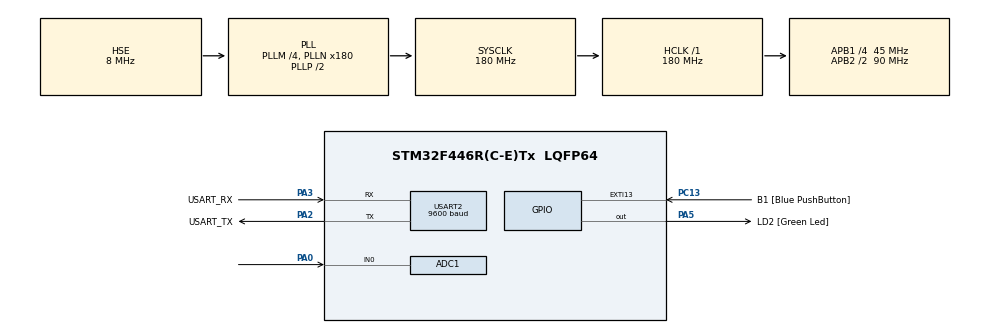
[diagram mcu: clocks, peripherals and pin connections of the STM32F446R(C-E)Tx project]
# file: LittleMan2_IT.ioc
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ADC1.Channel-0\#ChannelRegularConversion=ADC_CHANNEL_0
ADC1.ContinuousConvMode=ENABLE
ADC1.InjNumberOfConversion=0
ADC1.NbrOfConversion=1
ADC1.NbrOfConversionFlag=1
ADC1.Rank-0\#ChannelRegularConversion=1
ADC1.SamplingTime-0\#ChannelRegularConversion=ADC_SAMPLETIME_3CYCLES
ADC1.master=1
FREERTOS.Tasks01=defaultTask,0,128,StartDefaultTask,Default,NULL,Dynamic,NULL,NULL;Task2,0,128,Task2Init,Default,NULL,Dynamic,NULL,NULL
Mcu.Family=STM32F4
Mcu.Name=STM32F446R(C-E)Tx
Mcu.Package=LQFP64
NVIC.ADC_IRQn=true\:5\:0\:false\:false\:true\:true\:true\:true
NVIC.PriorityGroup=NVIC_PRIORITYGROUP_4
NVIC.TIM6_DAC_IRQn=true\:0\:0\:false\:false\:true\:false\:false\:true
NVIC.TimeBase=TIM6_DAC_IRQn
NVIC.TimeBaseIP=TIM6
NVIC.USART2_IRQn=true\:5\:0\:false\:false\:true\:true\:true\:true
PA0-WKUP.Signal=ADCx_IN0
PA13.GPIO_Label=TMS
PA13.Mode=Trace_Asynchronous_SW
PA13.Signal=SYS_JTMS-SWDIO
PA14.GPIO_Label=TCK
PA14.Mode=Trace_Asynchronous_SW
PA14.Signal=SYS_JTCK-SWCLK
PA2.GPIO_Label=USART_TX
PA2.Mode=Asynchronous
PA2.Signal=USART2_TX
PA3.GPIO_Label=USART_RX
PA3.Mode=Asynchronous
PA3.Signal=USART2_RX
PA5.GPIO_Label=LD2 [Green Led]
PA5.Signal=GPIO_Output
PB3.GPIO_Label=SWO
PB3.Mode=Trace_Asynchronous_SW
PB3.Signal=SYS_JTDO-SWO
PC13.GPIO_Label=B1 [Blue PushButton]
PC13.GPIO_ModeDefaultEXTI=GPIO_MODE_IT_FALLING
PC13.Signal=GPXTI13
PC14-OSC32_IN.Mode=LSE-External-Oscillator
PC14-OSC32_IN.Signal=RCC_OSC32_IN
PC15-OSC32_OUT.Mode=LSE-External-Oscillator
PC15-OSC32_OUT.Signal=RCC_OSC32_OUT
PH0-OSC_IN.Mode=HSE-External-Clock-Source
PH0-OSC_IN.Signal=RCC_OSC_IN
PH1-OSC_OUT.Mode=HSE-External-Clock-Source
PH1-OSC_OUT.Signal=RCC_OSC_OUT
ProjectManager.HeapSize=0x200
ProjectManager.StackSize=0x400
ProjectManager.TargetToolchain=STM32CubeIDE
RCC.48MHZClocksFreq_Value=84000000
RCC.AHBFreq_Value=180000000
RCC.APB1CLKDivider=RCC_HCLK_DIV4
RCC.APB1Freq_Value=45000000
RCC.APB1TimFreq_Value=90000000
RCC.APB2CLKDivider=RCC_HCLK_DIV2
RCC.APB2Freq_Value=90000000
RCC.APB2TimFreq_Value=180000000
RCC.CortexFreq_Value=180000000
RCC.FLatency-AdvancedSettings=FLASH_LATENCY_5
RCC.HCLKFreq_Value=180000000
RCC.HSE_VALUE=8000000
RCC.HSI_VALUE=16000000
RCC.PLLM=4
RCC.PLLN=180
RCC.PLLSourceVirtual=RCC_PLLSOURCE_HSE
RCC.SYSCLKFreq_VALUE=180000000
RCC.SYSCLKSource=RCC_SYSCLKSOURCE_PLLCLK
RCC.USBFreq_Value=180000000
RCC.VCOOutputFreq_Value=360000000
SH.ADCx_IN0.0=ADC1_IN0,IN0
USART2.BaudRate=9600
USART2.VirtualMode=VM_ASYNC
VP_FREERTOS_VS_CMSIS_V1.Mode=CMSIS_V1
VP_SYS_VS_tim6.Mode=TIM6
board=NUCLEO-F446RE

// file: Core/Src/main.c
/* USER CODE BEGIN Header */
/**
  ******************************************************************************
  * @file           : main.c
  * @brief          : Main program body
  ******************************************************************************
  * @attention
  *
  * <h2><center>&copy; Copyright (c) 2019 STMicroelectronics.
  * All rights reserved.</center></h2>
  *
  * This software component is licensed by ST under BSD 3-Clause license,
  * the "License"; You may not use this file except in compliance with the
  * License. You may obtain a copy of the License at:
  *                        opensource.org/licenses/BSD-3-Clause
  *
  ******************************************************************************
  */
/* USER CODE END Header */

#include "main.h"
#include "cmsis_os.h"

/* USER CODE BEGIN Includes */
#include <string.h>
#include <stdio.h>
/* USER CODE END Includes */

/* USER CODE BEGIN PD */

#define KEY_UP				610
#define KEY_DOWN			1550
#define KEY_SELECT			3850
#define KEY_LEFT			2460
#define KEY_RIGHT			0
#define	KEY_ERROR			50
#define KEY_UP_UPPER		KEY_UP + KEY_ERROR
#define KEY_UP_LOWER		KEY_UP - KEY_ERROR
#define KEY_DOWN_UPPER		KEY_DOWN + KEY_ERROR
#define KEY_DOWN_LOWER		KEY_DOWN - KEY_ERROR
#define KEY_LEFT_UPPER		KEY_LEFT + KEY_ERROR
#define KEY_LEFT_LOWER		KEY_LEFT - KEY_ERROR
#define KEY_RIGHT_UPPER		KEY_RIGHT + KEY_ERROR
#define KEY_RIGHT_LOWER		KEY_RIGHT - KEY_ERROR
#define KEY_SELECT_UPPER	KEY_SELECT + KEY_ERROR
#define KEY_SELECT_LOWER	KEY_SELECT - KEY_ERROR

/* USER CODE END PD */

ADC_HandleTypeDef hadc1;

UART_HandleTypeDef huart2;

osThreadId defaultTaskHandle;
osThreadId Task2Handle;
/* USER CODE BEGIN PV */

osThreadId TaskUARTProcessHandler;
osThreadId TaskDisplayHandler;

osMessageQId ADCQueue;

volatile uint16_t ADCValue = 0;

uint8_t usart_buffer[50] = "START";

/* USER CODE END PV */

void SystemClock_Config(void);
static void MX_GPIO_Init(void);
static void MX_USART2_UART_Init(void);
static void MX_ADC1_Init(void);
void StartDefaultTask(void const * argument);
void Task2Init(void const * argument);

/* USER CODE BEGIN PFP */
/*
 * TASKS Definitions
 */
void TaskUARTProcessInit(void const * argument);
void TaskDisplayInit(void const * argument);
int _write(int file, char *ptr, int len);

/*
 * General Functions definitions
 */
void uart_send(uint8_t *data);

/* USER CODE END PFP */

/* USER CODE BEGIN 0 */

/**
  * @brief  The application entry point.
  * @retval int
  */
int main(void)
{
  /* USER CODE BEGIN 1 */

  /* USER CODE END 1 */

  /* MCU Configuration--------------------------------------------------------*/

  /* Reset of all peripherals, Initializes the Flash interface and the Systick. */
  HAL_Init();

  /* USER CODE BEGIN Init */

  /* USER CODE END Init */

  /* Configure the system clock */
  SystemClock_Config();

  /* USER CODE BEGIN SysInit */

  /* USER CODE END SysInit */

  /* Initialize all configured peripherals */
  MX_GPIO_Init();
  MX_USART2_UART_Init();
  MX_ADC1_Init();
  /* USER CODE BEGIN 2 */

  /* Initialize LCD 20 cols x 4 rows */
  TM_HD44780_Init(16, 2);
  /* Put string to LCD */
  TM_HD44780_Puts(0, 0, "Fernando");
  TM_HD44780_Puts(0, 1, "16x2 HD44780 LCD");
  /* Wait a little */
  HAL_Delay(3000);
  /* Clear LCD */
  TM_HD44780_Clear();
  /* Write new text */
  TM_HD44780_Puts(6, 1, "CLEARED!");
  /* Wait a little */
  HAL_Delay(1000);

  printf("SVW TEST");

  /* USER CODE END 2 */

  /* USER CODE BEGIN RTOS_MUTEX */
  /* add mutexes, ... */
  /* USER CODE END RTOS_MUTEX */

  /* USER CODE BEGIN RTOS_SEMAPHORES */
  /* add semaphores, ... */
  /* USER CODE END RTOS_SEMAPHORES */

  /* USER CODE BEGIN RTOS_TIMERS */
  /* start timers, add new ones, ... */
  /* USER CODE END RTOS_TIMERS */

  /* USER CODE BEGIN RTOS_QUEUES */
  /* add queues, ... */
  osMessageQDef(adcqueue, 10, uint16_t);
  ADCQueue = osMessageCreate (osMessageQ(adcqueue), NULL);
  /* USER CODE END RTOS_QUEUES */

  /* Create the thread(s) */
  /* definition and creation of defaultTask */
  osThreadDef(defaultTask, StartDefaultTask, osPriorityNormal, 0, 128);
  defaultTaskHandle = osThreadCreate(osThread(defaultTask), NULL);

  /* definition and creation of Task2 */
  osThreadDef(Task2, Task2Init, osPriorityNormal, 0, 128);
  Task2Handle = osThreadCreate(osThread(Task2), NULL);

  /* USER CODE BEGIN RTOS_THREADS */
  /* add threads, ... */

  /* TaskUARTProcess Creation */
  osThreadDef(TaskUARTProcess, TaskUARTProcessInit, osPriorityNormal, 0, 128);
  TaskUARTProcessHandler = osThreadCreate(osThread(TaskUARTProcess), NULL);

  /* TaskDisplay Creation */
  osThreadDef(TaskDisplay, TaskDisplayInit, osPriorityNormal, 0, 128);
  TaskDisplayHandler = osThreadCreate(osThread(TaskDisplay), NULL);

  /* USER CODE END RTOS_THREADS */

  /* Start scheduler */
  osKernelStart();

  /* We should never get here as control is now taken by the scheduler */

  /* Infinite loop */
  /* USER CODE BEGIN WHILE */
  while (1)
  {
    /* USER CODE END WHILE */

    /* USER CODE BEGIN 3 */
  }
  /* USER CODE END 3 */
}

/* USER CODE END 0 */

void SystemClock_Config(void)
{
  RCC_OscInitTypeDef RCC_OscInitStruct = {0};
  RCC_ClkInitTypeDef RCC_ClkInitStruct = {0};

  /** Configure the main internal regulator output voltage
  */
  __HAL_RCC_PWR_CLK_ENABLE();
  __HAL_PWR_VOLTAGESCALING_CONFIG(PWR_REGULATOR_VOLTAGE_SCALE1);
  /** Initializes the CPU, AHB and APB busses clocks
  */
  RCC_OscInitStruct.OscillatorType = RCC_OSCILLATORTYPE_HSE;
  RCC_OscInitStruct.HSEState = RCC_HSE_BYPASS;
  RCC_OscInitStruct.PLL.PLLState = RCC_PLL_ON;
  RCC_OscInitStruct.PLL.PLLSource = RCC_PLLSOURCE_HSE;
  RCC_OscInitStruct.PLL.PLLM = 4;
  RCC_OscInitStruct.PLL.PLLN = 180;
  RCC_OscInitStruct.PLL.PLLP = RCC_PLLP_DIV2;
  RCC_OscInitStruct.PLL.PLLQ = 2;
  RCC_OscInitStruct.PLL.PLLR = 2;
  if (HAL_RCC_OscConfig(&RCC_OscInitStruct) != HAL_OK)
  {
    Error_Handler();
  }
  /** Activate the Over-Drive mode
  */
  if (HAL_PWREx_EnableOverDrive() != HAL_OK)
  {
    Error_Handler();
  }
  /** Initializes the CPU, AHB and APB busses clocks
  */
  RCC_ClkInitStruct.ClockType = RCC_CLOCKTYPE_HCLK|RCC_CLOCKTYPE_SYSCLK
                              |RCC_CLOCKTYPE_PCLK1|RCC_CLOCKTYPE_PCLK2;
  RCC_ClkInitStruct.SYSCLKSource = RCC_SYSCLKSOURCE_PLLCLK;
  RCC_ClkInitStruct.AHBCLKDivider = RCC_SYSCLK_DIV1;
  RCC_ClkInitStruct.APB1CLKDivider = RCC_HCLK_DIV4;
  RCC_ClkInitStruct.APB2CLKDivider = RCC_HCLK_DIV2;

  if (HAL_RCC_ClockConfig(&RCC_ClkInitStruct, FLASH_LATENCY_5) != HAL_OK)
  {
    Error_Handler();
  }
}

static void MX_ADC1_Init(void)
{

  ADC_ChannelConfTypeDef sConfig = {0};

  /** Configure the global features of the ADC (Clock, Resolution, Data Alignment and number of conversion)
  */
  hadc1.Instance = ADC1;
  hadc1.Init.ClockPrescaler = ADC_CLOCK_SYNC_PCLK_DIV4;
  hadc1.Init.Resolution = ADC_RESOLUTION_12B;
  hadc1.Init.ScanConvMode = DISABLE;
  hadc1.Init.ContinuousConvMode = ENABLE;
  hadc1.Init.DiscontinuousConvMode = DISABLE;
  hadc1.Init.ExternalTrigConvEdge = ADC_EXTERNALTRIGCONVEDGE_NONE;
  hadc1.Init.ExternalTrigConv = ADC_SOFTWARE_START;
  hadc1.Init.DataAlign = ADC_DATAALIGN_RIGHT;
  hadc1.Init.NbrOfConversion = 1;
  hadc1.Init.DMAContinuousRequests = DISABLE;
  hadc1.Init.EOCSelection = ADC_EOC_SINGLE_CONV;
  if (HAL_ADC_Init(&hadc1) != HAL_OK)
  {
    Error_Handler();
  }
  /** Configure for the selected ADC regular channel its corresponding rank in the sequencer and its sample time.
  */
  sConfig.Channel = ADC_CHANNEL_0;
  sConfig.Rank = 1;
  sConfig.SamplingTime = ADC_SAMPLETIME_3CYCLES;
  if (HAL_ADC_ConfigChannel(&hadc1, &sConfig) != HAL_OK)
  {
    Error_Handler();
  }

}

static void MX_USART2_UART_Init(void)
{

  huart2.Instance = USART2;
  huart2.Init.BaudRate = 9600;
  huart2.Init.WordLength = UART_WORDLENGTH_8B;
  huart2.Init.StopBits = UART_STOPBITS_1;
  huart2.Init.Parity = UART_PARITY_NONE;
  huart2.Init.Mode = UART_MODE_TX_RX;
  huart2.Init.HwFlowCtl = UART_HWCONTROL_NONE;
  huart2.Init.OverSampling = UART_OVERSAMPLING_16;
  if (HAL_UART_Init(&huart2) != HAL_OK)
  {
    Error_Handler();
  }

}

static void MX_GPIO_Init(void)
{
  GPIO_InitTypeDef GPIO_InitStruct = {0};

  /* GPIO Ports Clock Enable */
  __HAL_RCC_GPIOC_CLK_ENABLE();
  __HAL_RCC_GPIOH_CLK_ENABLE();
  __HAL_RCC_GPIOA_CLK_ENABLE();
  __HAL_RCC_GPIOB_CLK_ENABLE();

  /*Configure GPIO pin Output Level */
  HAL_GPIO_WritePin(LD2_GPIO_Port, LD2_Pin, GPIO_PIN_RESET);

  /*Configure GPIO pin : B1_Pin */
  GPIO_InitStruct.Pin = B1_Pin;
  GPIO_InitStruct.Mode = GPIO_MODE_IT_FALLING;
  GPIO_InitStruct.Pull = GPIO_NOPULL;
  HAL_GPIO_Init(B1_GPIO_Port, &GPIO_InitStruct);

  /*Configure GPIO pin : LD2_Pin */
  GPIO_InitStruct.Pin = LD2_Pin;
  GPIO_InitStruct.Mode = GPIO_MODE_OUTPUT_PP;
  GPIO_InitStruct.Pull = GPIO_NOPULL;
  GPIO_InitStruct.Speed = GPIO_SPEED_FREQ_LOW;
  HAL_GPIO_Init(LD2_GPIO_Port, &GPIO_InitStruct);

}

/* USER CODE BEGIN 4 */

int _write(int file, char *ptr, int len)
{
  /* Implement your write code here, this is used by puts and printf for example */
  int i=0;
  for(i = 0; i < len; i++)
  {
    ITM_SendChar((*ptr++));
  }
  return len;
}

void uart_send(uint8_t *data)
{
	uint16_t size = (uint16_t)strlen((const char *)data);
	HAL_UART_Transmit(&huart2, data, size, HAL_MAX_DELAY);
}

void TaskUARTProcessInit(void const * argument)
{
  for(;;)
  {
    osDelay(1);
  }
}

void TaskDisplayInit(void const * argument)
{
  osEvent event;

  uint16_t ADCValuebefore = 0;
  uint16_t ADCValue = 0;

  HAL_ADC_Start_IT(&hadc1);

  for(;;)
  {

#if 0
	HAL_ADC_PollForConversion(&hadc1, 100);

	if ((HAL_ADC_GetState(&hadc1) & HAL_ADC_STATE_EOC_REG) == HAL_ADC_STATE_EOC_REG)
	{
		ADCValue = HAL_ADC_GetValue(&hadc1);
	}
	else Error_Handler();
#endif

	/*
	 * Description: This part must detect the button press. To do so, it must debounce the button,
	 * and and consider the ADC error.
	 */

	//This get the ADC value from the ADC Queue
	event = osMessageGet(ADCQueue, 100);
	if(event.status == osEventMessage)
	{
		ADCValue = event.value.v;
	}

	if( !((ADCValue > (ADCValuebefore + KEY_ERROR)) && (ADCValue < (ADCValuebefore - KEY_ERROR))) )
	{

		if ( (ADCValue > KEY_UP_LOWER) && (ADCValue < KEY_UP_UPPER) )
		{
			sprintf(usart_buffer,"UP\r\n");
			uart_send(usart_buffer);
			TM_HD44780_Clear();
			TM_HD44780_Puts(0, 0, "UP");
		}
		else if (( (ADCValue > KEY_DOWN_LOWER) && (ADCValue < KEY_DOWN_UPPER) ))
		{
			sprintf(usart_buffer,"DOWN\r\n");
			uart_send(usart_buffer);
			TM_HD44780_Clear();
			TM_HD44780_Puts(0, 0, "DOWN");
		}
		else if (( (ADCValue > KEY_RIGHT_LOWER) && (ADCValue < KEY_RIGHT_UPPER) ))
		{
			sprintf(usart_buffer,"RIGHT\r\n");
			uart_send(usart_buffer);
			TM_HD44780_Clear();
			TM_HD44780_Puts(0, 0, "RIGHT");
		}
		else if (( (ADCValue > KEY_LEFT_LOWER) && (ADCValue < KEY_LEFT_UPPER) ))
		{
			sprintf(usart_buffer,"LEFT\r\n");
			uart_send(usart_buffer);
			TM_HD44780_Clear();
			TM_HD44780_Puts(0, 0, "LEFT");
		}
		else if (( (ADCValue > KEY_SELECT_LOWER) && (ADCValue < KEY_SELECT_UPPER) ))
		{
			sprintf(usart_buffer,"SELECT\r\n");
			uart_send(usart_buffer);
			TM_HD44780_Clear();
			TM_HD44780_Puts(0, 0, "SELECT");
		}

		ADCValuebefore = ADCValue;
	}

	HAL_ADC_Start(&hadc1);
    osDelay(10);
  }
}

void HAL_ADC_ConvCpltCallback(ADC_HandleTypeDef* hadc)
{
	if(hadc->Instance == ADC1)
	{

		uint16_t ADCValue = HAL_ADC_GetValue(hadc);
		if(osMessagePut (ADCQueue, ADCValue, 100) != osOK)
		{
		  Error_Handler();
		}
		printf("ADC = %d",ADCValue);
	}

}

/* USER CODE END 4 */

void StartDefaultTask(void const * argument)
{
  for(;;)
  {
    osDelay(1);
  }
}

void Task2Init(void const * argument)
{
  for(;;)
  {
    osDelay(1);
  }
}

void HAL_TIM_PeriodElapsedCallback(TIM_HandleTypeDef *htim)
{
  if (htim->Instance == TIM6) {
    HAL_IncTick();
  }
}

void Error_Handler(void)
{
}

/************************ (C) COPYRIGHT STMicroelectronics *****END OF FILE****/
